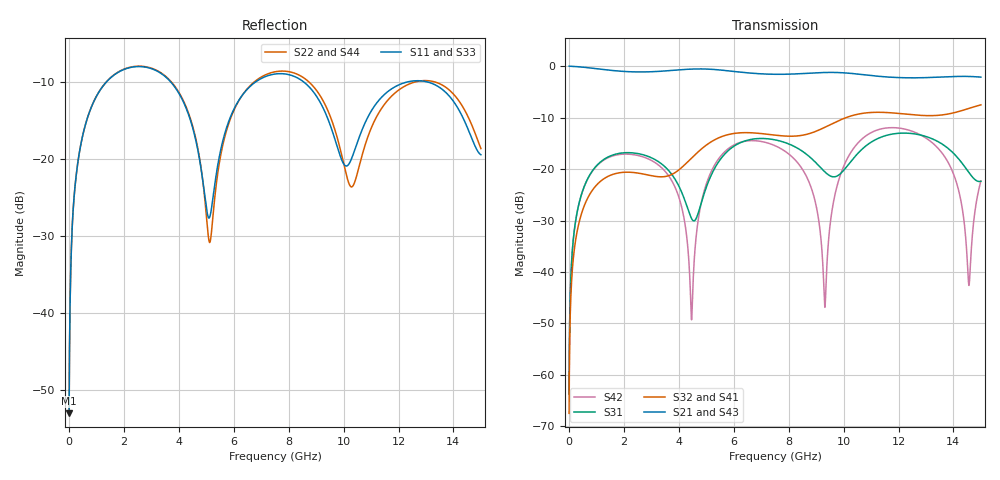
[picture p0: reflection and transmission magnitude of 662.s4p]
! Created with skrf 1.8.0 (http://scikit-rf.org).
# GHz S RI R 50.0
!freq ReS11 ImS11 ReS12 ImS12 ReS13 ImS13
! ReS14 ImS14
! ReS21 ImS21 ReS22 ImS22 ReS23 ImS23
! ReS24 ImS24
! ReS31 ImS31 ReS32 ImS32 ReS33 ImS33
! ReS34 ImS34
! ReS41 ImS41 ReS42 ImS42 ReS43 ImS43
! ReS44 ImS44
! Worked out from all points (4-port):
!   2499 points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, 5 MHz to 15 GHz, reference 50 ohm
!   strongest paths, dB at 5 MHz, 3.476 GHz, 7.19 GHz, 11.1 GHz, 15 GHz:
!     S21: 0.0, -1.0, -1.6, -1.9, -2.1
!     S43: 0.0, -1.0, -1.6, -1.9, -2.2
!     S32: -67.5, -21.5, -13.2, -9.0, -7.5
!     S41: -67.5, -21.5, -13.3, -9.0, -7.5
!     S31: -63.7, -19.5, -14.1, -14.5, -22.4
!     S42: -63.7, -20.3, -14.9, -12.7, -22.3
!   lowest |S11| = -53.1 dB at 5 MHz (marker M1), VSWR 1.00, Z = 50.2 + j0.135 ohm
!   |S11| at or under -10 dB: 3.703 GHz to 6.8 GHz (3.097 GHz wide, 59 % of centre); 8.544 GHz to 12.33 GHz (3.79 GHz wide, 36.3 % of centre); 13.04 GHz to end of sweep (the widest 3 of 4)
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0.005  0.00176 0.00134  0.9982 -0.00342  8.71e-05 0.000649  -8.48e-05 -0.000415
       0.9982 -0.00342  0.00176 0.00134  -8.48e-05 -0.000415  8.7e-05 0.000649
       8.71e-05 0.000649  -8.48e-05 -0.000415  0.00176 0.00134  0.9982 -0.00342
       -8.48e-05 -0.000415  8.7e-05 0.000649  0.9982 -0.00342  0.00176 0.00134
1.519383  0.2869 0.1757  0.5142 -0.7503  0.1265 0.0456  -0.0871 -0.00137
          0.5142 -0.7503  0.2893 0.1739  -0.0872 -0.00128  0.1195 0.0561
          0.1265 0.0456  -0.0872 -0.00128  0.2869 0.1757  0.5142 -0.7503
          -0.0871 -0.00137  0.1195 0.0561  0.5142 -0.7503  0.2893 0.1739
4.458108  0.0975 -0.1392  -0.8292 -0.4321  -0.0275 -0.0186  -0.0553 0.1146
          -0.8292 -0.4321  0.0885 -0.1495  -0.0545 0.1151  0.00347 0.000522
          -0.0275 -0.0186  -0.0545 0.1151  0.0974 -0.1399  -0.8292 -0.432
          -0.0553 0.1146  0.00347 0.000522  -0.8292 -0.432  0.0892 -0.1498
7.796999  0.3568 -0.0152  -0.0421 0.8316  0.149 -0.107  0.2015 -0.0535
          -0.0421 0.8316  0.3709 -0.0227  0.202 -0.0566  0.1473 -0.0419
          0.149 -0.107  0.202 -0.0566  0.3564 -0.0127  -0.0414 0.8315
          0.2015 -0.0535  0.1473 -0.0419  -0.0414 0.8315  0.3717 -0.0255
9.316382  0.1588 -0.1259  0.6504 0.5727  -0.0637 -0.069  0.1635 -0.1947
          0.6504 0.5727  0.1587 -0.1622  0.16 -0.1978  0.00433 0.00135
          -0.0637 -0.069  0.16 -0.1978  0.1611 -0.1242  0.651 0.5719
          0.1635 -0.1947  0.00433 0.00135  0.651 0.5719  0.157 -0.1643
10.86078  0.1566 0.095  0.7909 -0.205  0.0731 0.1553  -0.1222 -0.3298
          0.7909 -0.205  0.1115 0.0765  -0.1273 -0.3281  0.1438 0.159
          0.0731 0.1553  -0.1273 -0.3281  0.1576 0.0944  0.7902 -0.2067
          -0.1222 -0.3298  0.1438 0.159  0.7902 -0.2067  0.1121 0.0783
15  0.1056 -0.0122  -0.7033 -0.3401  -0.0723 0.0239  -0.1801 0.3799
    -0.7033 -0.3401  0.0994 -0.0609  -0.1707 0.3842  -0.00236 0.0766
    -0.0723 0.0239  -0.1707 0.3842  0.1109 -0.0158  -0.7038 -0.3378
    -0.1801 0.3799  -0.00236 0.0766  -0.7038 -0.3378  0.0992 -0.0656
